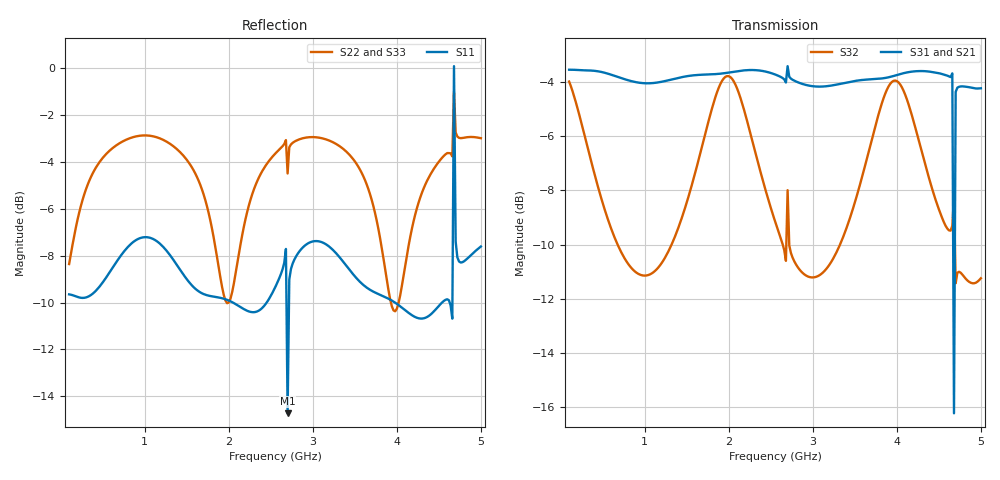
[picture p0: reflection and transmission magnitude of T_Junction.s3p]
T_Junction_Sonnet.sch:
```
<Qucs Schematic 25.1.2>
<Properties>
  <View=0,0,1573,885,1,0,0>
  <Grid=10,10,1>
  <DataSet=T_Junction_Sonnet.dat>
  <DataDisplay=T_Junction_Sonnet.dpl>
  <OpenDisplay=0>
  <Script=T_Junction_Sonnet.m>
  <RunScript=0>
  <showFrame=0>
  <FrameText0=Title>
  <FrameText1=Drawn By:>
  <FrameText2=Date:>
  <FrameText3=Revision:>
</Properties>
<Symbol>
</Symbol>
<Components>
  <Pac P1 1 100 360 18 -26 0 1 "1" 1 "50 Ohm" 1 "0 dBm" 0 "1 GHz" 0 "26.85" 0 "true" 0>
  <GND * 1 100 390 0 0 0 0>
  <Pac P2 1 670 210 18 -26 0 1 "2" 1 "100 Ohm" 1 "0 dBm" 0 "1 GHz" 0 "26.85" 0 "true" 0>
  <GND * 1 670 240 0 0 0 0>
  <Pac P3 1 670 490 18 -26 0 1 "3" 1 "100 Ohm" 1 "0 dBm" 0 "1 GHz" 0 "26.85" 0 "true" 0>
  <GND * 1 670 520 0 0 0 0>
  <Eqn Eqn1 1 190 650 -28 15 0 0 "S11_dB=dB(S[1,1])" 1 "S21_dB=dB(S[2,1])" 1 "S31_dB=dB(S[3,1])" 1 "S22_dB=dB(S[2,2])" 1 "S33_dB=dB(S[3,3])" 1 "yes" 0>
  <SPfile X1 1 350 330 -26 -85 0 0 "T_Junction.s3p" 1 "rectangular" 0 "linear" 0 "open" 0 "3" 0>
  <GND * 1 350 390 0 0 0 0>
  <.SP SP1 1 340 650 0 60 0 0 "lin" 1 "0.5GHz" 1 "2.5GHz" 1 "300" 1 "no" 0 "1" 0 "2" 0 "no" 0 "no" 0>
</Components>
<Wires>
  <100 300 320 300 "" 0 0 0 "">
  <100 300 100 330 "" 0 0 0 "">
  <380 300 480 300 "" 0 0 0 "">
  <480 180 480 300 "" 0 0 0 "">
  <480 180 670 180 "" 0 0 0 "">
  <260 360 320 360 "" 0 0 0 "">
  <260 360 260 460 "" 0 0 0 "">
  <260 460 670 460 "" 0 0 0 "">
</Wires>
<Diagrams>
  <Rect 840 434 351 254 3 #c0c0c0 1 00 1 5e+08 5e+08 2.5e+09 0 -5 0.5 -2 1 -1 0.5 1 315 0 225 1 0 0 "" "" "">
	<"S21_dB" #0000ff 1 3 0 0 0>
	<"S31_dB" #ff0000 1 3 0 0 0>
	<"T_Junction:S21_dB" #ff00ff 1 3 0 0 0>
  </Rect>
</Diagrams>
<Paintings>
</Paintings>
```
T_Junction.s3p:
! Sonnet Data File
! From: sonnet Version : 18.53-Lite
! From Emgraph Data:
! Data File Written: 07/02/2025 05:58:26
!< HDATE 07/02/2025 05:53:16
!< MDATE 07/02/2025 05:53:16
!< PARAMS
!< W_50 = 1.13
!< L0 = 45.0
!< W_100 = 0.272
!< L1 = 47.3
!< END PARAMS
# GHZ S MA R 50.00000
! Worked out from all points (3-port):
!   246 points, 100 MHz to 5 GHz, reference 50 ohm
!   strongest paths, dB at 100 MHz, 1.32 GHz, 2.56 GHz, 3.78 GHz, 5 GHz:
!     S31: -3.5, -3.9, -3.7, -3.9, -4.2
!     S21: -3.5, -3.9, -3.8, -3.7, -4.2
!     S32: -4.0, -10.0, -9.2, -5.2, -11.2
!   lowest |S11| = -14.7 dB at 2.7 GHz (marker M1), VSWR 1.45, Z = 60.1 - j17.8 ohm
!   |S11| at or under -10 dB: 2.05 GHz to 2.45 GHz (399.8 MHz wide, 17.8 % of centre); 3.979 GHz to 4.537 GHz (558.5 MHz wide, 13.1 % of centre); 4.629 GHz to 4.661 GHz (32.44 MHz wide, 0.698 % of centre)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
0.1  0.3293 142.3  0.6649 -18.3  0.6652 -18.2
     0.6649 -18.3  0.3822 125.1  0.6326 -29.0
     0.6652 -18.2  0.6326 -29.0  0.3817 125.2
1.54  0.3475 -3.8  0.6532 83.4  0.6484 84.1
      0.6532 83.4  0.6232 -44.5  0.3971 103.6
      0.6484 84.1  0.3971 103.6  0.6308 -44.0
2.7  0.1835 -51.3  0.6697 -115.5  0.6753 -114.8
     0.6697 -115.5  0.5964 19.8  0.3985 -148.5
     0.6753 -114.8  0.3985 -148.5  0.5898 21.1
4.04  0.3105 168.4  0.6453 -10.2  0.653 -6.1
      0.6453 -10.2  0.3279 139.3  0.6248 -20.3
      0.653 -6.1  0.6248 -20.3  0.3129 147.1
5  0.4166 172.1  0.6157 176.5  0.6147 177.6
   0.6157 176.5  0.7095 -2.4  0.274 173.9
   0.6147 177.6  0.274 173.9  0.7105 -0.2
